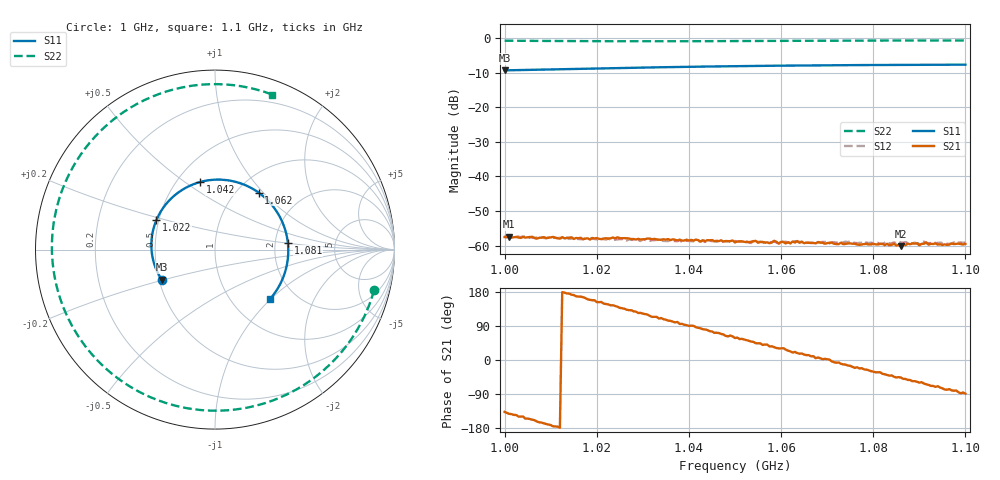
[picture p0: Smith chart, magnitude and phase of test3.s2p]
!Keysight Technologies N9923A: A.08.15
!Date: Wednesday, 14 February 2024 17:41:56
!Timezone: (GMT-05:00) Eastern Time (US & Canada)
!Model: N9923A
!Serial: MY52412730
!GPS Latitude:
!GPS Longitude:
!GPS TimeStamp: 0001-01-01 00:00:00Z
!GPS Seconds Since Last Read: 0
!CHECKSUM:1645418596
!Correction: S11(ON Q)S21(ON Q)S12(ON Q)S22(ON Q)
!S2P File: Measurements:S11,S21,S12,S22:
# Hz S DB R 50
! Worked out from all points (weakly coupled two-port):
!   201 points, 1 GHz to 1.1 GHz, reference 50 ohm
!   highest |S21| = -57.41 dB at 1.001 GHz (marker M1); lowest = -60.2 dB at 1.086 GHz (marker M2)
!   lowest |S11| = -9.4 dB at 1 GHz (marker M3), VSWR 2.03, Z = 25.8 - j9.74 ohm
!   |S11| at or under -10 dB: nowhere
!   |S22| runs from -0.9 to -0.7 dB; largest |S21 - S12| = 0.00014
!   S11 on the Smith chart (normalised r, x): 1 GHz: 0.52, -0.19; 1.022 GHz: 0.49, +0.18; 1.042 GHz: 0.65, +0.57; 1.062 GHz: 1.25, +0.94; 1.081 GHz: 2.35, +0.21; 1.1 GHz: 1.49, -0.99
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1e9  -9.35 -150.7  -57.54 -137.0  -56.97 -137.1  -0.77 -14.3
1.001e9  -9.32 -153.3  -57.41 -142.1  -57.31 -138.7  -0.78 -17.1
1.0085e9  -9.11 -172.5  -57.55 -167.2  -57.81 -167.6  -0.85 -37.5
1.017e9  -8.87 165.9  -58.13 165.8  -58.14 166.2  -0.90 -60.8
1.022e9  -8.74 153.2  -57.87 147.7  -58.23 148.2  -0.92 -74.5
1.028e9  -8.59 138.0  -58.09 128.3  -58.20 129.3  -0.94 -91.0
1.0335e9  -8.46 124.1  -58.30 109.3  -58.38 110.8  -0.94 -106.2
1.042e9  -8.28 102.6  -58.41 85.0  -58.67 83.5  -0.93 -129.7
1.05e9  -8.14 82.5  -59.07 57.8  -58.66 57.7  -0.89 -151.8
1.056e9  -8.05 67.5  -58.93 39.8  -59.01 40.6  -0.86 -168.5
1.062e9  -7.96 52.5  -59.38 22.8  -58.91 23.0  -0.82 174.9
1.0635e9  -7.95 48.8  -58.66 18.3  -58.95 17.9  -0.81 170.7
1.067e9  -7.91 40.1  -59.20 10.2  -59.23 7.3  -0.79 161.0
1.0735e9  -7.85 23.9  -59.60 -11.5  -59.04 -13.3  -0.75 143.0
1.081e9  -7.79 5.2  -59.66 -32.4  -59.21 -35.0  -0.72 122.2
1.082e9  -7.79 2.8  -59.49 -36.6  -59.55 -34.8  -0.72 119.4
1.083e9  -7.78 0.3  -59.47 -39.4  -58.76 -39.9  -0.72 116.6
1.0835e9  -7.78 -1.0  -59.94 -41.3  -59.43 -38.4  -0.71 115.2
1.086e9  -7.77 -7.2  -60.16 -46.3  -59.06 -46.7  -0.71 108.3
1.0865e9  -7.76 -8.4  -59.40 -49.8  -59.17 -50.0  -0.71 107.0
1.093e9  -7.73 -24.5  -59.53 -68.5  -58.79 -67.9  -0.71 89.0
1.1e9  -7.70 -41.9  -59.52 -88.9  -59.10 -84.5  -0.72 69.8
